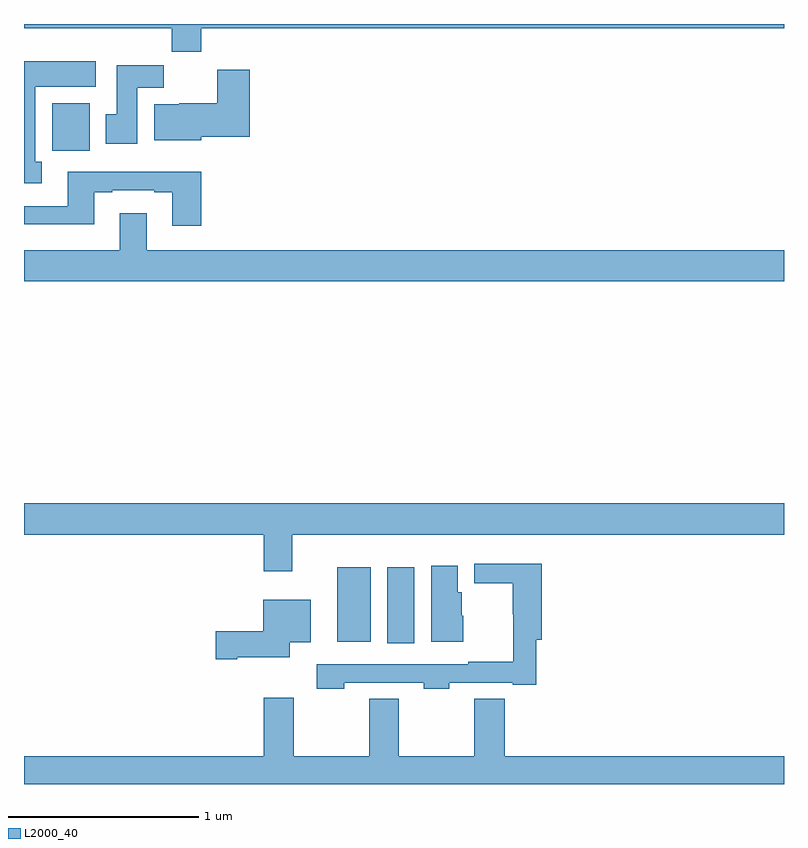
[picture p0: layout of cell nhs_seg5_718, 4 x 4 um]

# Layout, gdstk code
import gdstk
lib = gdstk.Library(unit=1e-6, precision=1e-09)
def R(c, l, rs):  # rectangles x0, y0, x1, y1
    for r in rs: c.add(gdstk.rectangle(r[:2], r[2:], *l))
def P(c, l, *ps):  # polygons
    for p in ps: c.add(gdstk.Polygon(p, *l))
L2000_40 = (2000, 40)

nhs_seg5_718 = lib.new_cell('nhs_seg5_718')
R(nhs_seg5_718, L2000_40, [(158.912,837.54,159.055,837.94), (158.648,837.548,158.824,837.94), (157.149,840.132,157.345,840.382)])
P(nhs_seg5_718, L2000_40, [(157.934,840.776),(161,840.776),(161,840.799),(157,840.799),(157,840.776),(157.777,840.776),(157.777,840.652),(157.934,840.652)],
  [(157.093,840.073),(157.06,840.073),(157.06,840.47),(157.378,840.47),(157.378,840.604),(157,840.604),(157,839.961),(157.093,839.961)],
  [(157.597,840.464),(157.736,840.464),(157.736,840.583),(157.487,840.583),(157.487,840.324),(157.43,840.324),(157.43,840.168),(157.597,840.168)],
  [(157.932,840.206),(158.189,840.206),(158.189,840.559),(158.018,840.559),(158.018,840.382),(157.818,840.382),(157.818,840.376),(157.685,840.376),(157.685,840.188),(157.932,840.188)],
  [(157.934,840.022),(157.229,840.022),(157.229,839.841),(157,839.841),(157,839.744),(157.369,839.744),(157.369,839.913),(157.465,839.913),(157.465,839.925),(157.685,839.925),(157.685,839.913),(157.781,839.913),(157.781,839.736),(157.934,839.736)],
  [(161,839.608),(157.645,839.608),(157.645,839.803),(157.505,839.803),(157.505,839.608),(157,839.608),(157,839.444),(161,839.444)],
  [(158.413,838.112),(161,838.112),(161,838.276),(157,838.276),(157,838.112),(158.261,838.112),(158.261,837.918),(158.413,837.918)],
  [(158.685,837.333),(159.105,837.333),(159.105,837.301),(159.237,837.301),(159.237,837.333),(159.572,837.333),(159.572,837.321),(159.695,837.321),(159.695,837.557),(159.725,837.557),(159.725,837.958),(159.369,837.958),(159.369,837.856),(159.572,837.856),(159.572,837.693),(159.574,837.693),(159.574,837.442),(159.337,837.442),(159.337,837.429),(158.541,837.429),(158.541,837.301),(158.685,837.301)],
  [(159.313,837.684),(159.304,837.684),(159.304,837.807),(159.283,837.807),(159.283,837.949),(159.143,837.949),(159.143,837.548),(159.313,837.548)],
  [(158.122,837.467),(158.398,837.467),(158.398,837.545),(158.509,837.545),(158.509,837.769),(158.258,837.769),(158.258,837.602),(158.01,837.602),(158.01,837.455),(158.122,837.455)],
  [(157,836.799),(161,836.799),(161,836.944),(159.53,836.944),(159.53,837.248),(159.37,837.248),(159.37,836.944),(158.972,836.944),(158.972,837.248),(158.818,837.248),(158.818,836.944),(158.421,836.944),(158.421,837.253),(158.261,837.253),(158.261,836.944),(157,836.944)])

lib.write_gds('nhs_seg5_718.gds')
